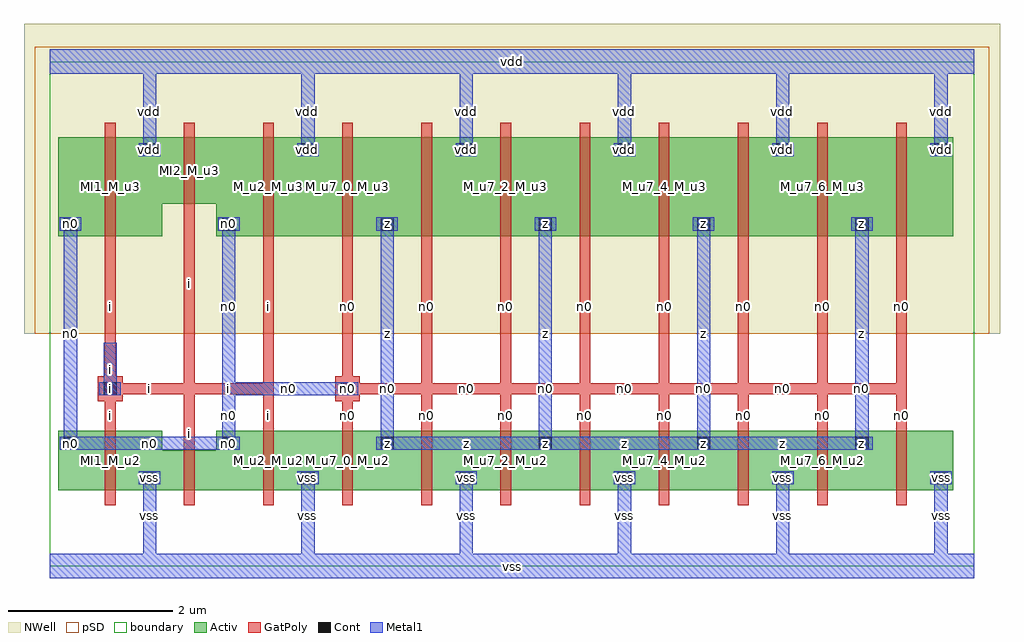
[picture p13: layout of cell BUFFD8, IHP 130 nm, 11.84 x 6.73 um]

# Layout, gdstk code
import gdstk
lib = gdstk.Library(unit=1e-6, precision=1e-09)
def R(c, l, rs):  # rectangles x0, y0, x1, y1
    for r in rs: c.add(gdstk.rectangle(r[:2], r[2:], *l))
def A(c, l, x, y, w, h, nx, ny, dx, dy):  # array of equal rectangles
    R(c, l, [(x+i*dx, y+j*dy, x+i*dx+w, y+j*dy+h) for i in range(nx) for j in range(ny)])
Activ = (1, 0)
GatPoly = (5, 0)
Cont = (6, 0)
Metal1 = (8, 0)
pSD = (14, 0)
NWell = (31, 0)
TEXT = (63, 0)
boundary = (189, 4)

buffd8 = lib.new_cell('BUFFD8')
A(buffd8, Activ, 1.065, 0.92, 0.3, 0.3, 6, 2, 1.92, 3.98)
A(buffd8, Activ, 2.025, 0.92, 1.26, 0.72, 9, 1, 0.96, 0)
A(buffd8, Activ, 0.105, 1.34, 0.3, 0.3, 6, 2, 1.92, 2.66)
A(buffd8, Activ, 2.025, 4, 1.26, 1.2, 9, 1, 0.96, 0)
R(buffd8, Activ, [(0.105,0.92,1.365,1.64), (1.065,0.92,2.325,1.405), (0.105,4,1.365,5.2), (1.065,4.395,2.325,5.2)])
A(buffd8, GatPoly, 2.59, 0.74, 0.13, 1.08, 9, 1, 0.96, 0)
A(buffd8, GatPoly, 2.59, 1.425, 0.13, 0.79, 9, 1, 0.96, 0)
A(buffd8, GatPoly, 2.59, 2.085, 0.13, 2.13, 9, 1, 0.96, 0)
A(buffd8, GatPoly, 3.55, 2.085, 1.09, 0.13, 7, 1, 0.96, 0)
A(buffd8, GatPoly, 2.59, 3.82, 0.13, 1.56, 9, 1, 0.96, 0)
R(buffd8, GatPoly, [(0.67,0.74,0.8,1.82), (1.63,0.74,1.76,1.585), (1.63,1.005,1.76,2.215), (0.67,1.425,0.8,2.215), (0.585,2,0.885,2.3), (3.465,2,3.765,2.3), (0.67,2.085,1.76,2.215), (0.67,2.085,0.8,4.215), (1.63,2.085,2.72,2.215), (1.63,2.085,1.76,4.775), (0.67,3.82,0.8,5.38), (1.63,4.215,1.76,5.38)])
A(buffd8, Cont, 1.135, 0.99, 0.16, 0.16, 6, 2, 1.92, 3.98)
A(buffd8, Cont, 0.175, 1.41, 0.16, 0.16, 6, 2, 1.92, 2.66)
R(buffd8, Cont, [(0.655,2.07,0.815,2.23), (3.535,2.07,3.695,2.23)])
A(buffd8, Metal1, 1.135, 0.07, 0.16, 1.08, 6, 2, 1.92, 4.9)
A(buffd8, Metal1, 1.085, 0.99, 0.26, 0.16, 6, 2, 1.92, 3.98)
A(buffd8, Metal1, 0.125, 1.41, 0.26, 0.16, 6, 2, 1.92, 2.66)
A(buffd8, Metal1, 4.015, 1.41, 2.08, 0.16, 3, 1, 1.92, 0)
A(buffd8, Metal1, 4.015, 1.41, 0.16, 2.82, 4, 1, 1.92, 0)
R(buffd8, Metal1, [(0,-0.15,11.22,0.15), (0.175,1.41,2.255,1.57), (0.175,1.41,0.335,4.23), (2.095,1.41,2.255,2.23), (0.605,2.07,0.865,2.23), (0.655,2.07,0.815,2.71), (2.095,2.07,3.695,2.23), (2.095,2.07,2.255,4.23), (3.485,2.07,3.745,2.23), (0,5.97,11.22,6.27)])
R(buffd8, pSD, [(-0.18,2.82,11.4,5.94), (-0.18,5.94,11.4,6.3)])
R(buffd8, NWell, [(-0.31,2.82,11.53,6.58)])
R(buffd8, boundary, [(0,0,11.22,6.12)])
buffd8.add(gdstk.FlexPath([(0.105,0.41),(10.965,0.41)], 0, ends="flush", simple_path=True, layer=63, datatype=0))  # TEXT
buffd8.add(gdstk.FlexPath([(0.105,1.07),(10.965,1.07)], 0, ends="flush", simple_path=True, layer=63, datatype=0))  # TEXT
buffd8.add(gdstk.FlexPath([(0.105,1.49),(10.965,1.49)], 0, ends="flush", simple_path=True, layer=63, datatype=0))  # TEXT
buffd8.add(gdstk.FlexPath([(0.105,2.15),(10.965,2.15)], 0, ends="flush", simple_path=True, layer=63, datatype=0))  # TEXT
buffd8.add(gdstk.FlexPath([(0.105,2.63),(10.965,2.63)], 0, ends="flush", simple_path=True, layer=63, datatype=0))  # TEXT
buffd8.add(gdstk.FlexPath([(0.105,3.11),(10.965,3.11)], 0, ends="flush", simple_path=True, layer=63, datatype=0))  # TEXT
buffd8.add(gdstk.FlexPath([(0.105,4.15),(10.965,4.15)], 0, ends="flush", simple_path=True, layer=63, datatype=0))  # TEXT
buffd8.add(gdstk.FlexPath([(0.105,4.71),(10.965,4.71)], 0, ends="flush", simple_path=True, layer=63, datatype=0))  # TEXT
buffd8.add(gdstk.FlexPath([(0.105,5.05),(10.965,5.05)], 0, ends="flush", simple_path=True, layer=63, datatype=0))  # TEXT
buffd8.add(gdstk.FlexPath([(0.105,5.71),(10.965,5.71)], 0, ends="flush", simple_path=True, layer=63, datatype=0))  # TEXT
buffd8.add(gdstk.FlexPath([(0.255,0.07),(0.255,6.05)], 0, ends="flush", simple_path=True, layer=63, datatype=0))  # TEXT
buffd8.add(gdstk.FlexPath([(0.735,0.07),(0.735,6.05)], 0, ends="flush", simple_path=True, layer=63, datatype=0))  # TEXT
buffd8.add(gdstk.FlexPath([(1.215,0.07),(1.215,6.05)], 0, ends="flush", simple_path=True, layer=63, datatype=0))  # TEXT
buffd8.add(gdstk.FlexPath([(1.695,0.07),(1.695,6.05)], 0, ends="flush", simple_path=True, layer=63, datatype=0))  # TEXT
buffd8.add(gdstk.FlexPath([(2.175,0.07),(2.175,6.05)], 0, ends="flush", simple_path=True, layer=63, datatype=0))  # TEXT
buffd8.add(gdstk.FlexPath([(2.655,0.07),(2.655,6.05)], 0, ends="flush", simple_path=True, layer=63, datatype=0))  # TEXT
buffd8.add(gdstk.FlexPath([(3.135,0.07),(3.135,6.05)], 0, ends="flush", simple_path=True, layer=63, datatype=0))  # TEXT
buffd8.add(gdstk.FlexPath([(3.615,0.07),(3.615,6.05)], 0, ends="flush", simple_path=True, layer=63, datatype=0))  # TEXT
buffd8.add(gdstk.FlexPath([(4.095,0.07),(4.095,6.05)], 0, ends="flush", simple_path=True, layer=63, datatype=0))  # TEXT
buffd8.add(gdstk.FlexPath([(4.575,0.07),(4.575,6.05)], 0, ends="flush", simple_path=True, layer=63, datatype=0))  # TEXT
buffd8.add(gdstk.FlexPath([(5.055,0.07),(5.055,6.05)], 0, ends="flush", simple_path=True, layer=63, datatype=0))  # TEXT
buffd8.add(gdstk.FlexPath([(5.535,0.07),(5.535,6.05)], 0, ends="flush", simple_path=True, layer=63, datatype=0))  # TEXT
buffd8.add(gdstk.FlexPath([(6.015,0.07),(6.015,6.05)], 0, ends="flush", simple_path=True, layer=63, datatype=0))  # TEXT
buffd8.add(gdstk.FlexPath([(6.495,0.07),(6.495,6.05)], 0, ends="flush", simple_path=True, layer=63, datatype=0))  # TEXT
buffd8.add(gdstk.FlexPath([(6.975,0.07),(6.975,6.05)], 0, ends="flush", simple_path=True, layer=63, datatype=0))  # TEXT
buffd8.add(gdstk.FlexPath([(7.455,0.07),(7.455,6.05)], 0, ends="flush", simple_path=True, layer=63, datatype=0))  # TEXT
buffd8.add(gdstk.FlexPath([(7.935,0.07),(7.935,6.05)], 0, ends="flush", simple_path=True, layer=63, datatype=0))  # TEXT
buffd8.add(gdstk.FlexPath([(8.415,0.07),(8.415,6.05)], 0, ends="flush", simple_path=True, layer=63, datatype=0))  # TEXT
buffd8.add(gdstk.FlexPath([(8.895,0.07),(8.895,6.05)], 0, ends="flush", simple_path=True, layer=63, datatype=0))  # TEXT
buffd8.add(gdstk.FlexPath([(9.375,0.07),(9.375,6.05)], 0, ends="flush", simple_path=True, layer=63, datatype=0))  # TEXT
buffd8.add(gdstk.FlexPath([(9.855,0.07),(9.855,6.05)], 0, ends="flush", simple_path=True, layer=63, datatype=0))  # TEXT
buffd8.add(gdstk.FlexPath([(10.335,0.07),(10.335,6.05)], 0, ends="flush", simple_path=True, layer=63, datatype=0))  # TEXT
buffd8.add(gdstk.FlexPath([(10.815,0.07),(10.815,6.05)], 0, ends="flush", simple_path=True, layer=63, datatype=0))  # TEXT
buffd8.add(gdstk.Label('n0', (0.255,1.49), layer=6, texttype=0))
buffd8.add(gdstk.Label('n0', (2.175,1.49), layer=6, texttype=0))
buffd8.add(gdstk.Label('n0', (0.255,4.15), layer=6, texttype=0))
buffd8.add(gdstk.Label('n0', (2.175,4.15), layer=6, texttype=0))
buffd8.add(gdstk.Label('n0', (3.615,2.15), layer=6, texttype=0))
buffd8.add(gdstk.Label('i', (0.735,2.15), layer=6, texttype=0))
buffd8.add(gdstk.Label('z', (4.095,1.49), layer=6, texttype=0))
buffd8.add(gdstk.Label('z', (6.015,1.49), layer=6, texttype=0))
buffd8.add(gdstk.Label('z', (7.935,1.49), layer=6, texttype=0))
buffd8.add(gdstk.Label('z', (9.855,1.49), layer=6, texttype=0))
buffd8.add(gdstk.Label('z', (4.095,4.15), layer=6, texttype=0))
buffd8.add(gdstk.Label('z', (6.015,4.15), layer=6, texttype=0))
buffd8.add(gdstk.Label('z', (7.935,4.15), layer=6, texttype=0))
buffd8.add(gdstk.Label('z', (9.855,4.15), layer=6, texttype=0))
buffd8.add(gdstk.Label('vss', (1.215,1.07), layer=6, texttype=0))
buffd8.add(gdstk.Label('vss', (3.135,1.07), layer=6, texttype=0))
buffd8.add(gdstk.Label('vss', (5.055,1.07), layer=6, texttype=0))
buffd8.add(gdstk.Label('vss', (6.975,1.07), layer=6, texttype=0))
buffd8.add(gdstk.Label('vss', (8.895,1.07), layer=6, texttype=0))
buffd8.add(gdstk.Label('vss', (10.815,1.07), layer=6, texttype=0))
buffd8.add(gdstk.Label('vdd', (1.215,5.05), layer=6, texttype=0))
buffd8.add(gdstk.Label('vdd', (3.135,5.05), layer=6, texttype=0))
buffd8.add(gdstk.Label('vdd', (5.055,5.05), layer=6, texttype=0))
buffd8.add(gdstk.Label('vdd', (6.975,5.05), layer=6, texttype=0))
buffd8.add(gdstk.Label('vdd', (8.895,5.05), layer=6, texttype=0))
buffd8.add(gdstk.Label('vdd', (10.815,5.05), layer=6, texttype=0))
buffd8.add(gdstk.Label('n0', (0.255,1.49), layer=8, texttype=0))
buffd8.add(gdstk.Label('n0', (2.175,1.49), layer=8, texttype=0))
buffd8.add(gdstk.Label('n0', (0.255,4.15), layer=8, texttype=0))
buffd8.add(gdstk.Label('n0', (2.175,4.15), layer=8, texttype=0))
buffd8.add(gdstk.Label('n0', (1.215,1.49), layer=8, texttype=0))
buffd8.add(gdstk.Label('n0', (2.175,1.82), layer=8, texttype=0))
buffd8.add(gdstk.Label('n0', (2.895,2.15), layer=8, texttype=0))
buffd8.add(gdstk.Label('n0', (3.615,2.15), layer=8, texttype=0))
buffd8.add(gdstk.Label('n0', (0.255,2.82), layer=8, texttype=0))
buffd8.add(gdstk.Label('n0', (2.175,3.15), layer=8, texttype=0))
buffd8.add(gdstk.Label('vss', (1.215,1.07), layer=8, texttype=0))
buffd8.add(gdstk.Label('vss', (1.215,0.61), layer=8, texttype=0))
buffd8.add(gdstk.Label('vss', (3.135,1.07), layer=8, texttype=0))
buffd8.add(gdstk.Label('vss', (3.135,0.61), layer=8, texttype=0))
buffd8.add(gdstk.Label('vss', (5.055,1.07), layer=8, texttype=0))
buffd8.add(gdstk.Label('vss', (5.055,0.61), layer=8, texttype=0))
buffd8.add(gdstk.Label('vss', (6.975,1.07), layer=8, texttype=0))
buffd8.add(gdstk.Label('vss', (6.975,0.61), layer=8, texttype=0))
buffd8.add(gdstk.Label('vss', (8.895,1.07), layer=8, texttype=0))
buffd8.add(gdstk.Label('vss', (8.895,0.61), layer=8, texttype=0))
buffd8.add(gdstk.Label('vss', (10.815,1.07), layer=8, texttype=0))
buffd8.add(gdstk.Label('vss', (10.815,0.61), layer=8, texttype=0))
buffd8.add(gdstk.Label('vdd', (1.215,5.05), layer=8, texttype=0))
buffd8.add(gdstk.Label('vdd', (1.215,5.51), layer=8, texttype=0))
buffd8.add(gdstk.Label('vdd', (3.135,5.05), layer=8, texttype=0))
buffd8.add(gdstk.Label('vdd', (3.135,5.51), layer=8, texttype=0))
buffd8.add(gdstk.Label('vdd', (5.055,5.05), layer=8, texttype=0))
buffd8.add(gdstk.Label('vdd', (5.055,5.51), layer=8, texttype=0))
buffd8.add(gdstk.Label('vdd', (6.975,5.05), layer=8, texttype=0))
buffd8.add(gdstk.Label('vdd', (6.975,5.51), layer=8, texttype=0))
buffd8.add(gdstk.Label('vdd', (8.895,5.05), layer=8, texttype=0))
buffd8.add(gdstk.Label('vdd', (8.895,5.51), layer=8, texttype=0))
buffd8.add(gdstk.Label('vdd', (10.815,5.05), layer=8, texttype=0))
buffd8.add(gdstk.Label('vdd', (10.815,5.51), layer=8, texttype=0))
buffd8.add(gdstk.Label('i', (0.735,2.15), layer=8, texttype=2))
buffd8.add(gdstk.Label('i', (0.735,2.39), layer=8, texttype=2))
buffd8.add(gdstk.Label('z', (4.095,1.49), layer=8, texttype=2))
buffd8.add(gdstk.Label('z', (6.015,1.49), layer=8, texttype=2))
buffd8.add(gdstk.Label('z', (7.935,1.49), layer=8, texttype=2))
buffd8.add(gdstk.Label('z', (9.855,1.49), layer=8, texttype=2))
buffd8.add(gdstk.Label('z', (4.095,4.15), layer=8, texttype=2))
buffd8.add(gdstk.Label('z', (6.015,4.15), layer=8, texttype=2))
buffd8.add(gdstk.Label('z', (7.935,4.15), layer=8, texttype=2))
buffd8.add(gdstk.Label('z', (9.855,4.15), layer=8, texttype=2))
buffd8.add(gdstk.Label('z', (5.055,1.49), layer=8, texttype=2))
buffd8.add(gdstk.Label('z', (6.975,1.49), layer=8, texttype=2))
buffd8.add(gdstk.Label('z', (8.895,1.49), layer=8, texttype=2))
buffd8.add(gdstk.Label('z', (4.095,2.82), layer=8, texttype=2))
buffd8.add(gdstk.Label('z', (6.015,2.82), layer=8, texttype=2))
buffd8.add(gdstk.Label('z', (7.935,2.82), layer=8, texttype=2))
buffd8.add(gdstk.Label('z', (9.855,2.82), layer=8, texttype=2))
buffd8.add(gdstk.Label('vss', (5.61,0), layer=8, texttype=2))
buffd8.add(gdstk.Label('vdd', (5.61,6.12), layer=8, texttype=2))
buffd8.add(gdstk.Label('i', (0.735,2.15), layer=8, texttype=2))
buffd8.add(gdstk.Label('i', (0.735,2.39), layer=8, texttype=2))
buffd8.add(gdstk.Label('z', (4.095,1.49), layer=8, texttype=2))
buffd8.add(gdstk.Label('z', (6.015,1.49), layer=8, texttype=2))
buffd8.add(gdstk.Label('z', (7.935,1.49), layer=8, texttype=2))
buffd8.add(gdstk.Label('z', (9.855,1.49), layer=8, texttype=2))
buffd8.add(gdstk.Label('z', (4.095,4.15), layer=8, texttype=2))
buffd8.add(gdstk.Label('z', (6.015,4.15), layer=8, texttype=2))
buffd8.add(gdstk.Label('z', (7.935,4.15), layer=8, texttype=2))
buffd8.add(gdstk.Label('z', (9.855,4.15), layer=8, texttype=2))
buffd8.add(gdstk.Label('z', (5.055,1.49), layer=8, texttype=2))
buffd8.add(gdstk.Label('z', (6.975,1.49), layer=8, texttype=2))
buffd8.add(gdstk.Label('z', (8.895,1.49), layer=8, texttype=2))
buffd8.add(gdstk.Label('z', (4.095,2.82), layer=8, texttype=2))
buffd8.add(gdstk.Label('z', (6.015,2.82), layer=8, texttype=2))
buffd8.add(gdstk.Label('z', (7.935,2.82), layer=8, texttype=2))
buffd8.add(gdstk.Label('z', (9.855,2.82), layer=8, texttype=2))
buffd8.add(gdstk.Label('vss', (5.61,0), layer=8, texttype=2))
buffd8.add(gdstk.Label('vdd', (5.61,6.12), layer=8, texttype=2))
buffd8.add(gdstk.Label('MI1_M_u2', (0.735,1.28), layer=1, texttype=0))
buffd8.add(gdstk.Label('MI2_M_u2', (1.695,1.163), layer=1, texttype=0))
buffd8.add(gdstk.Label('M_u2_M_u2', (2.655,1.28), layer=1, texttype=0))
buffd8.add(gdstk.Label('M_u7_0_M_u2', (3.615,1.28), layer=1, texttype=0))
buffd8.add(gdstk.Label('M_u7_1_M_u2', (4.575,1.28), layer=1, texttype=0))
buffd8.add(gdstk.Label('M_u7_2_M_u2', (5.535,1.28), layer=1, texttype=0))
buffd8.add(gdstk.Label('M_u7_3_M_u2', (6.495,1.28), layer=1, texttype=0))
buffd8.add(gdstk.Label('M_u7_4_M_u2', (7.455,1.28), layer=1, texttype=0))
buffd8.add(gdstk.Label('M_u7_5_M_u2', (8.415,1.28), layer=1, texttype=0))
buffd8.add(gdstk.Label('M_u7_6_M_u2', (9.375,1.28), layer=1, texttype=0))
buffd8.add(gdstk.Label('M_u7_7_M_u2', (10.335,1.28), layer=1, texttype=0))
buffd8.add(gdstk.Label('MI1_M_u3', (0.735,4.6), layer=1, texttype=0))
buffd8.add(gdstk.Label('MI2_M_u3', (1.695,4.798), layer=1, texttype=0))
buffd8.add(gdstk.Label('M_u2_M_u3', (2.655,4.6), layer=1, texttype=0))
buffd8.add(gdstk.Label('M_u7_0_M_u3', (3.615,4.6), layer=1, texttype=0))
buffd8.add(gdstk.Label('M_u7_1_M_u3', (4.575,4.6), layer=1, texttype=0))
buffd8.add(gdstk.Label('M_u7_2_M_u3', (5.535,4.6), layer=1, texttype=0))
buffd8.add(gdstk.Label('M_u7_3_M_u3', (6.495,4.6), layer=1, texttype=0))
buffd8.add(gdstk.Label('M_u7_4_M_u3', (7.455,4.6), layer=1, texttype=0))
buffd8.add(gdstk.Label('M_u7_5_M_u3', (8.415,4.6), layer=1, texttype=0))
buffd8.add(gdstk.Label('M_u7_6_M_u3', (9.375,4.6), layer=1, texttype=0))
buffd8.add(gdstk.Label('M_u7_7_M_u3', (10.335,4.6), layer=1, texttype=0))
buffd8.add(gdstk.Label('n0', (0.255,1.49), layer=1, texttype=0))
buffd8.add(gdstk.Label('n0', (2.175,1.49), layer=1, texttype=0))
buffd8.add(gdstk.Label('n0', (0.255,4.15), layer=1, texttype=0))
buffd8.add(gdstk.Label('n0', (2.175,4.15), layer=1, texttype=0))
buffd8.add(gdstk.Label('z', (4.095,1.49), layer=1, texttype=0))
buffd8.add(gdstk.Label('z', (6.015,1.49), layer=1, texttype=0))
buffd8.add(gdstk.Label('z', (7.935,1.49), layer=1, texttype=0))
buffd8.add(gdstk.Label('z', (9.855,1.49), layer=1, texttype=0))
buffd8.add(gdstk.Label('z', (4.095,4.15), layer=1, texttype=0))
buffd8.add(gdstk.Label('z', (6.015,4.15), layer=1, texttype=0))
buffd8.add(gdstk.Label('z', (7.935,4.15), layer=1, texttype=0))
buffd8.add(gdstk.Label('z', (9.855,4.15), layer=1, texttype=0))
buffd8.add(gdstk.Label('vss', (1.215,1.07), layer=1, texttype=0))
buffd8.add(gdstk.Label('vss', (3.135,1.07), layer=1, texttype=0))
buffd8.add(gdstk.Label('vss', (5.055,1.07), layer=1, texttype=0))
buffd8.add(gdstk.Label('vss', (6.975,1.07), layer=1, texttype=0))
buffd8.add(gdstk.Label('vss', (8.895,1.07), layer=1, texttype=0))
buffd8.add(gdstk.Label('vss', (10.815,1.07), layer=1, texttype=0))
buffd8.add(gdstk.Label('vdd', (1.215,5.05), layer=1, texttype=0))
buffd8.add(gdstk.Label('vdd', (3.135,5.05), layer=1, texttype=0))
buffd8.add(gdstk.Label('vdd', (5.055,5.05), layer=1, texttype=0))
buffd8.add(gdstk.Label('vdd', (6.975,5.05), layer=1, texttype=0))
buffd8.add(gdstk.Label('vdd', (8.895,5.05), layer=1, texttype=0))
buffd8.add(gdstk.Label('vdd', (10.815,5.05), layer=1, texttype=0))
buffd8.add(gdstk.Label('i', (0.735,2.15), layer=8, texttype=25))
buffd8.add(gdstk.Label('i', (0.735,2.39), layer=8, texttype=25))
buffd8.add(gdstk.Label('z', (4.095,1.49), layer=8, texttype=25))
buffd8.add(gdstk.Label('z', (6.015,1.49), layer=8, texttype=25))
buffd8.add(gdstk.Label('z', (7.935,1.49), layer=8, texttype=25))
buffd8.add(gdstk.Label('z', (9.855,1.49), layer=8, texttype=25))
buffd8.add(gdstk.Label('z', (4.095,4.15), layer=8, texttype=25))
buffd8.add(gdstk.Label('z', (6.015,4.15), layer=8, texttype=25))
buffd8.add(gdstk.Label('z', (7.935,4.15), layer=8, texttype=25))
buffd8.add(gdstk.Label('z', (9.855,4.15), layer=8, texttype=25))
buffd8.add(gdstk.Label('z', (5.055,1.49), layer=8, texttype=25))
buffd8.add(gdstk.Label('z', (6.975,1.49), layer=8, texttype=25))
buffd8.add(gdstk.Label('z', (8.895,1.49), layer=8, texttype=25))
buffd8.add(gdstk.Label('z', (4.095,2.82), layer=8, texttype=25))
buffd8.add(gdstk.Label('z', (6.015,2.82), layer=8, texttype=25))
buffd8.add(gdstk.Label('z', (7.935,2.82), layer=8, texttype=25))
buffd8.add(gdstk.Label('z', (9.855,2.82), layer=8, texttype=25))
buffd8.add(gdstk.Label('vss', (5.61,0), layer=8, texttype=25))
buffd8.add(gdstk.Label('vdd', (5.61,6.12), layer=8, texttype=25))
buffd8.add(gdstk.Label('n0', (3.615,2.15), layer=5, texttype=0))
buffd8.add(gdstk.Label('n0', (3.615,1.82), layer=5, texttype=0))
buffd8.add(gdstk.Label('n0', (4.095,2.15), layer=5, texttype=0))
buffd8.add(gdstk.Label('n0', (4.575,1.82), layer=5, texttype=0))
buffd8.add(gdstk.Label('n0', (5.055,2.15), layer=5, texttype=0))
buffd8.add(gdstk.Label('n0', (5.535,1.82), layer=5, texttype=0))
buffd8.add(gdstk.Label('n0', (6.015,2.15), layer=5, texttype=0))
buffd8.add(gdstk.Label('n0', (6.495,1.82), layer=5, texttype=0))
buffd8.add(gdstk.Label('n0', (6.975,2.15), layer=5, texttype=0))
buffd8.add(gdstk.Label('n0', (7.455,1.82), layer=5, texttype=0))
buffd8.add(gdstk.Label('n0', (7.935,2.15), layer=5, texttype=0))
buffd8.add(gdstk.Label('n0', (8.415,1.82), layer=5, texttype=0))
buffd8.add(gdstk.Label('n0', (8.895,2.15), layer=5, texttype=0))
buffd8.add(gdstk.Label('n0', (9.375,1.82), layer=5, texttype=0))
buffd8.add(gdstk.Label('n0', (9.855,2.15), layer=5, texttype=0))
buffd8.add(gdstk.Label('n0', (10.335,1.82), layer=5, texttype=0))
buffd8.add(gdstk.Label('n0', (3.615,3.15), layer=5, texttype=0))
buffd8.add(gdstk.Label('n0', (4.575,3.15), layer=5, texttype=0))
buffd8.add(gdstk.Label('n0', (5.535,3.15), layer=5, texttype=0))
buffd8.add(gdstk.Label('n0', (6.495,3.15), layer=5, texttype=0))
buffd8.add(gdstk.Label('n0', (7.455,3.15), layer=5, texttype=0))
buffd8.add(gdstk.Label('n0', (8.415,3.15), layer=5, texttype=0))
buffd8.add(gdstk.Label('n0', (9.375,3.15), layer=5, texttype=0))
buffd8.add(gdstk.Label('n0', (10.335,3.15), layer=5, texttype=0))
buffd8.add(gdstk.Label('i', (0.735,1.82), layer=5, texttype=0))
buffd8.add(gdstk.Label('i', (1.215,2.15), layer=5, texttype=0))
buffd8.add(gdstk.Label('i', (1.695,1.61), layer=5, texttype=0))
buffd8.add(gdstk.Label('i', (2.175,2.15), layer=5, texttype=0))
buffd8.add(gdstk.Label('i', (2.655,1.82), layer=5, texttype=0))
buffd8.add(gdstk.Label('i', (0.735,3.15), layer=5, texttype=0))
buffd8.add(gdstk.Label('i', (1.695,3.43), layer=5, texttype=0))
buffd8.add(gdstk.Label('i', (2.655,3.15), layer=5, texttype=0))
buffd8.add(gdstk.Label('i', (0.735,2.15), layer=5, texttype=0))

lib.write_gds('BUFFD8.gds')
